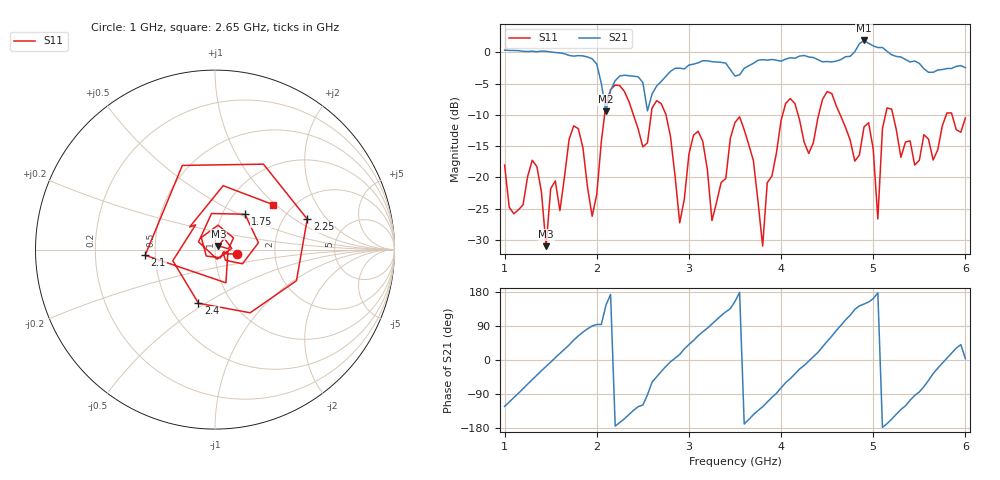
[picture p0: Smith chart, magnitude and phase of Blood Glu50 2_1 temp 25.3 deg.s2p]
! NanoVNA-App
! Date: 2024-03-20 20:46:57
! Start: 1GHz Stop: 6GHz Points: 101
! S-Parameter data: F S11 S21 S12 S22
# Hz S RI R 50
!	Frequency	S11_Real	S11_Imag	S21_Real	S21_Imag	S12_Real	S12_Imag	S22_Real	S22_Imag
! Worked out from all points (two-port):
!   101 points, 1 GHz to 6 GHz, reference 50 ohm
!   highest |S21| = 1.89 dB at 4.9 GHz (marker M1); lowest = -9.4 dB at 2.1 GHz (marker M2)
!   |S21| within 3 dB of the highest: start of sweep to 1.954 GHz; 4.655 GHz to 5.346 GHz (690.5 MHz wide, 13.8 % of centre)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
!   lowest |S11| = -31.0 dB at 1.45 GHz (marker M3), VSWR 1.06, Z = 51.9 + j2.13 ohm
!   |S11| at or under -10 dB: start of sweep to 2.085 GHz; 2.751 GHz to 4.016 GHz (1.265 GHz wide, 37.4 % of centre); 5.214 GHz to 5.793 GHz (578.5 MHz wide, 10.5 % of centre)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
!   S12 and S22 are empty: the file has one direction only
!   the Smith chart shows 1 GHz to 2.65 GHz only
!   S11 on the Smith chart (normalised r, x): 1 GHz: 1.28, -0.06; 1.75 GHz: 1.27, +0.54; 2.1 GHz: 0.44, -0.03; 2.25 GHz: 2.67, +1.28; 2.4 GHz: 0.70, -0.47; 2.65 GHz: 1.61, +0.97
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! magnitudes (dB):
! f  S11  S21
! 1 GHz  -18.0  0.3
! 1.35 GHz  -18.3  0.1
! 1.45 GHz  -31.0  0.2
! 1.75 GHz  -11.8  -0.6
! 1.85 GHz  -15.3  -0.6
! 1.95 GHz  -26.2  -1.0
! 2.1 GHz  -8.2  -9.4
! 2.25 GHz  -5.3  -3.8
! 2.4 GHz  -10.1  -3.8
! 2.65 GHz  -7.7  -5.4
! 2.7 GHz  -8.2  -4.7
! 2.9 GHz  -27.3  -2.5
! 3.05 GHz  -13.2  -1.9
! 3.25 GHz  -26.9  -1.5
! 3.5 GHz  -11.2  -3.8
! 3.8 GHz  -31.0  -1.2
! 4.05 GHz  -8.2  -1.1
! 4.35 GHz  -14.5  -0.8
! 4.9 GHz  -11.9  1.9
! 5.05 GHz  -26.6  0.8
! 5.2 GHz  -9.1  -0.4
! 6 GHz  -10.5  -2.5
